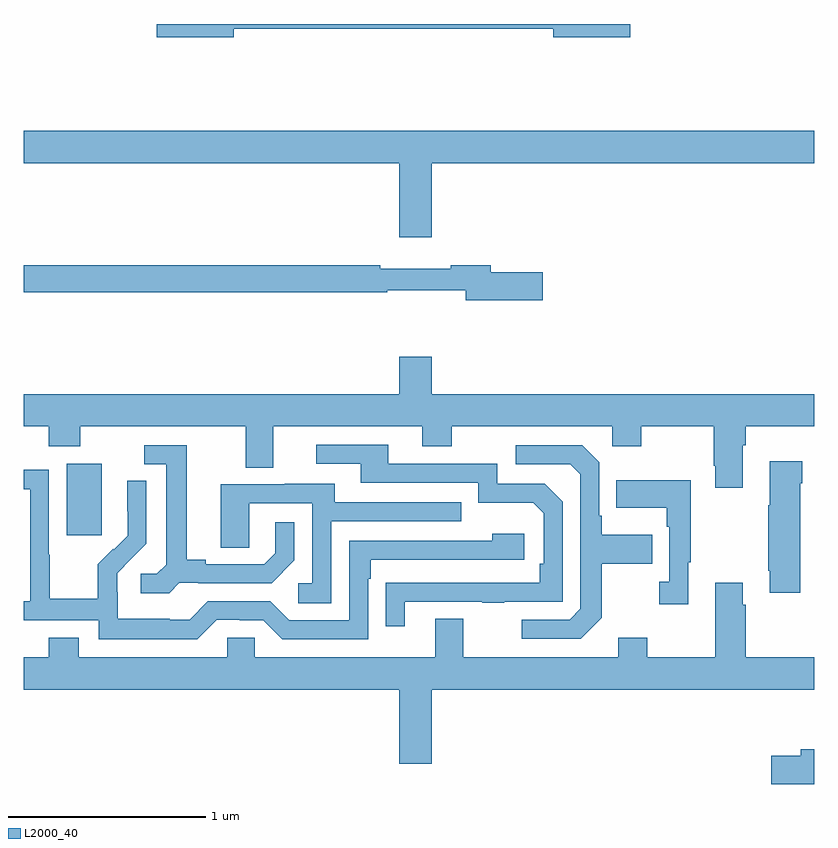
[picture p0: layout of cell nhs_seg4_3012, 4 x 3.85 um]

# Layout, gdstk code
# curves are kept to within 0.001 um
import gdstk
lib = gdstk.Library(unit=1e-6, precision=1e-09)
def R(c, l, rs):  # rectangles x0, y0, x1, y1
    for r in rs: c.add(gdstk.rectangle(r[:2], r[2:], *l))
def P(c, l, *ps):  # polygons
    for p in ps: c.add(gdstk.Polygon(p, *l))
L2000_40 = (2000, 40)

nhs_seg4_3012 = lib.new_cell('nhs_seg4_3012')
R(nhs_seg4_3012, L2000_40, [(271.217,752.313,271.396,752.674)])
P(nhs_seg4_3012, L2000_40, [(272.062,754.876),(273.68,754.876),(273.68,754.834),(274.069,754.834),(274.069,754.9),(271.674,754.9),(271.674,754.834),(272.062,754.834)],
  [(273.064,754.196),(275,754.196),(275,754.36),(271,754.36),(271,754.196),(272.9,754.196),(272.9,753.822),(273.064,753.822)],
  [(273.625,753.644),(273.364,753.644),(273.364,753.68),(273.16,753.68),(273.16,753.661),(272.804,753.661),(272.804,753.68),(271,753.68),(271,753.544),(272.84,753.544),(272.84,753.552),(273.236,753.552),(273.236,753.502),(273.625,753.502)],
  [(274.639,752.768),(274.652,752.768),(274.652,752.864),(275,752.864),(275,753.028),(273.064,753.028),(273.064,753.217),(272.9,753.217),(272.9,753.028),(271,753.028),(271,752.864),(271.127,752.864),(271.127,752.765),(271.287,752.765),(271.287,752.864),(272.123,752.864),(272.123,752.656),(272.263,752.656),(272.263,752.864),(273.017,752.864),(273.017,752.765),(273.165,752.765),(273.165,752.864),(273.978,752.864),(273.978,752.765),(274.125,752.765),(274.125,752.864),(274.492,752.864),(274.492,752.665),(274.499,752.665),(274.499,752.553),(274.639,752.553)],
  [(272.929,751.977),(273.319,751.977),(273.319,751.972),(273.431,751.972),(273.431,751.977),(273.726,751.977),(273.726,752.484),(273.636,752.574),(273.396,752.574),(273.396,752.676),(272.845,752.676),(272.845,752.772),(272.481,752.772),(272.481,752.676),(272.705,752.676),(272.705,752.58),(273.3,752.58),(273.3,752.477),(273.577,752.477),(273.63,752.424),(273.63,752.17),(273.61,752.17),(273.61,752.073),(272.833,752.072),(272.833,751.854),(272.929,751.854)],
  [(273.925,751.897),(273.925,752.17),(274.181,752.17),(274.181,752.317),(273.925,752.317),(273.925,752.413),(273.912,752.413),(273.912,752.682),(273.825,752.769),(273.489,752.769),(273.489,752.673),(273.765,752.673),(273.816,752.622),(273.816,751.941),(273.762,751.887),(273.519,751.887),(273.519,751.791),(273.819,751.791)],
  [(271.788,752.073),(271.882,752.073),(271.882,752.07),(272.254,752.07),(272.37,752.186),(272.37,752.38),(272.273,752.38),(272.273,752.223),(272.216,752.166),(271.921,752.166),(271.921,752.189),(271.825,752.189),(271.825,752.769),(271.611,752.769),(271.611,752.673),(271.721,752.673),(271.721,752.165),(271.674,752.118),(271.593,752.118),(271.593,752.021),(271.736,752.021)],
  [(274.93,752.576),(274.938,752.576),(274.938,752.689),(274.775,752.689),(274.775,752.465),(274.768,752.465),(274.768,752.134),(274.775,752.134),(274.775,752.022),(274.93,752.022)],
  [(271.977,751.887),(272.093,751.887),(272.093,751.884),(272.211,751.884),(272.307,751.788),(272.742,751.788),(272.742,752.093),(272.755,752.093),(272.755,752.19),(273.532,752.19),(273.532,752.32),(273.371,752.32),(273.371,752.286),(272.646,752.286),(272.646,751.884),(272.343,751.884),(272.247,751.98),(271.932,751.98),(271.839,751.887),(271.739,751.887),(271.739,751.891),(271.476,751.891),(271.476,752.025),(271.474,752.025),(271.474,752.122),(271.62,752.27),(271.62,752.588),(271.524,752.588),(271.524,752.434),(271.526,752.434),(271.526,752.312),(271.455,752.241),(271.452,752.244),(271.375,752.167),(271.375,751.993),(271.131,751.993),(271.131,752.216),(271.128,752.216),(271.128,752.646),(271,752.646),(271,752.547),(271.032,752.547),(271.032,751.98),(271,751.98),(271,751.884),(271.38,751.884),(271.38,751.787),(271.877,751.787)],
  [(274.363,752.177),(274.375,752.177),(274.375,752.593),(273.997,752.593),(273.997,752.453),(274.254,752.453),(274.254,752.357),(274.266,752.357),(274.266,752.078),(274.215,752.078),(274.215,751.965),(274.363,751.965)],
  [(272.556,752.385),(273.215,752.385),(273.215,752.481),(272.575,752.481),(272.575,752.575),(272.321,752.575),(272.321,752.571),(271.997,752.571),(271.997,752.251),(272.142,752.251),(272.142,752.475),(272.46,752.475),(272.46,752.07),(272.388,752.07),(272.388,751.969),(272.556,751.969)],
  [(273.064,751.532),(275,751.532),(275,751.696),(274.652,751.696),(274.652,751.961),(274.639,751.961),(274.639,752.074),(274.499,752.074),(274.499,751.696),(274.155,751.696),(274.155,751.795),(274.007,751.795),(274.007,751.696),(273.223,751.696),(273.223,751.891),(273.083,751.891),(273.083,751.696),(272.169,751.696),(272.169,751.794),(272.031,751.794),(272.031,751.696),(271.279,751.696),(271.279,751.795),(271.127,751.795),(271.127,751.696),(271,751.696),(271,751.532),(272.9,751.532),(272.9,751.158),(273.064,751.158)],
  [(275,751.231),(274.931,751.231),(274.931,751.197),(274.782,751.197),(274.782,751.055),(275,751.055)])

lib.write_gds('nhs_seg4_3012.gds')
